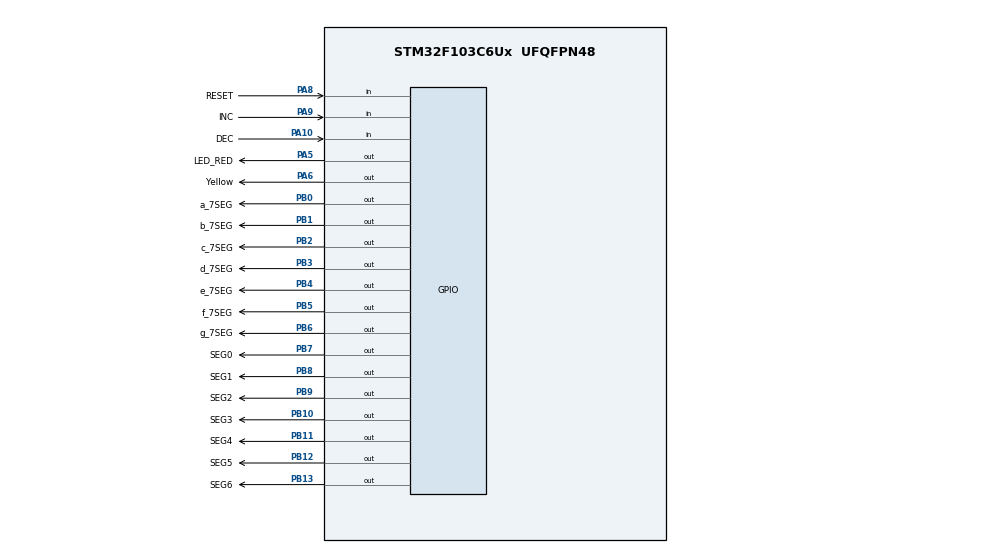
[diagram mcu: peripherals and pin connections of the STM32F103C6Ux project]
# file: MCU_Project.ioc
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Mcu.Family=STM32F1
Mcu.Name=STM32F103C6Ux
Mcu.Package=UFQFPN48
NVIC.PriorityGroup=NVIC_PRIORITYGROUP_4
NVIC.TIM2_IRQn=true\:0\:0\:false\:false\:true\:true\:true
PA10.GPIO_Label=DEC
PA10.GPIO_PuPd=GPIO_PULLUP
PA10.Signal=GPIO_Input
PA5.GPIO_Label=LED_RED
PA5.Signal=GPIO_Output
PA6.GPIO_Label=Yellow
PA6.Signal=GPIO_Output
PA8.GPIO_Label=RESET
PA8.GPIO_PuPd=GPIO_PULLUP
PA8.Signal=GPIO_Input
PA9.GPIO_Label=INC
PA9.GPIO_PuPd=GPIO_PULLUP
PA9.Signal=GPIO_Input
PB0.GPIO_Label=a_7SEG
PB0.Signal=GPIO_Output
PB1.GPIO_Label=b_7SEG
PB1.Signal=GPIO_Output
PB10.GPIO_Label=SEG3
PB10.Signal=GPIO_Output
PB11.GPIO_Label=SEG4
PB11.Signal=GPIO_Output
PB12.GPIO_Label=SEG5
PB12.Signal=GPIO_Output
PB13.GPIO_Label=SEG6
PB13.Signal=GPIO_Output
PB2.GPIO_Label=c_7SEG
PB2.Signal=GPIO_Output
PB3.GPIO_Label=d_7SEG
PB3.Signal=GPIO_Output
PB4.GPIO_Label=e_7SEG
PB4.Signal=GPIO_Output
PB5.GPIO_Label=f_7SEG
PB5.Signal=GPIO_Output
PB6.GPIO_Label=g_7SEG
PB6.Signal=GPIO_Output
PB7.GPIO_Label=SEG0
PB7.Signal=GPIO_Output
PB8.GPIO_Label=SEG1
PB8.Signal=GPIO_Output
PB9.GPIO_Label=SEG2
PB9.Signal=GPIO_Output
ProjectManager.HeapSize=0x200
ProjectManager.StackSize=0x400
ProjectManager.TargetToolchain=STM32CubeIDE
RCC.APB1Freq_Value=8000000
RCC.APB2Freq_Value=8000000
TIM2.Period=9
TIM2.Prescaler=7999
VP_SYS_VS_ND.Mode=No_Debug
VP_TIM2_VS_ClockSourceINT.Mode=Internal
board=custom

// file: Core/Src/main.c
/* USER CODE BEGIN Header */
/**
  ******************************************************************************
  * @file           : main.c
  * @brief          : Main program body
  ******************************************************************************
  * @attention
  *
  * <h2><center>&copy; Copyright (c) 2022 STMicroelectronics.
  * All rights reserved.</center></h2>
  *
  * This software component is licensed by ST under BSD 3-Clause license,
  * the "License"; You may not use this file except in compliance with the
  * License. You may obtain a copy of the License at:
  *                        opensource.org/licenses/BSD-3-Clause
  *
  ******************************************************************************
  */
/* USER CODE END Header */
#include "main.h"

/* USER CODE BEGIN Includes */

#include "ledStatus.h"
#include "global.h"
#include "software_timer.h"
#include "button.h"
#include "SEVEN_SEGMENT.h"

/* USER CODE END Includes */

TIM_HandleTypeDef htim2;

void SystemClock_Config(void);
static void MX_GPIO_Init(void);
static void MX_TIM2_Init(void);

/* USER CODE BEGIN 0 */
int number = 0;

void count(){
	if(timer4_flag == 1){
		setTimer4(100);
		number++;
	}
	 display7_seg2(number);
	if(number > 9)number = 0;
}
/* USER CODE END 0 */

int main(void)
{

  /* MCU Configuration--------------------------------------------------------*/

  /* Reset of all peripherals, Initializes the Flash interface and the Systick. */
  HAL_Init();

  /* Configure the system clock */
  SystemClock_Config();

  /* Initialize all configured peripherals */
  MX_GPIO_Init();
  MX_TIM2_Init();
  /* USER CODE BEGIN 2 */
  HAL_TIM_Base_Start_IT(&htim2);
  /* USER CODE END 2 */

  /* Infinite loop */
  /* USER CODE BEGIN WHILE */
  setTimer1(100);
  setTimer2(100);
  setTimer3(100);

  setTimer4(100);
  led_status(0);
  num = 5;
  flag = 1;
  while (1)
  {
	 //count();

	 led_blink();
	fsm_no_buttons_run();

	  //fsm_3s_buttons_run();

	  //fsm_simple_buttons_run();
    /* USER CODE END WHILE */

  }
}

void SystemClock_Config(void)
{
  RCC_OscInitTypeDef RCC_OscInitStruct = {0};
  RCC_ClkInitTypeDef RCC_ClkInitStruct = {0};

  /** Initializes the RCC Oscillators according to the specified parameters
  * in the RCC_OscInitTypeDef structure.
  */
  RCC_OscInitStruct.OscillatorType = RCC_OSCILLATORTYPE_HSI;
  RCC_OscInitStruct.HSIState = RCC_HSI_ON;
  RCC_OscInitStruct.HSICalibrationValue = RCC_HSICALIBRATION_DEFAULT;
  RCC_OscInitStruct.PLL.PLLState = RCC_PLL_NONE;
  if (HAL_RCC_OscConfig(&RCC_OscInitStruct) != HAL_OK)
  {
    Error_Handler();
  }
  /** Initializes the CPU, AHB and APB buses clocks
  */
  RCC_ClkInitStruct.ClockType = RCC_CLOCKTYPE_HCLK|RCC_CLOCKTYPE_SYSCLK
                              |RCC_CLOCKTYPE_PCLK1|RCC_CLOCKTYPE_PCLK2;
  RCC_ClkInitStruct.SYSCLKSource = RCC_SYSCLKSOURCE_HSI;
  RCC_ClkInitStruct.AHBCLKDivider = RCC_SYSCLK_DIV1;
  RCC_ClkInitStruct.APB1CLKDivider = RCC_HCLK_DIV1;
  RCC_ClkInitStruct.APB2CLKDivider = RCC_HCLK_DIV1;

  if (HAL_RCC_ClockConfig(&RCC_ClkInitStruct, FLASH_LATENCY_0) != HAL_OK)
  {
    Error_Handler();
  }
}

static void MX_TIM2_Init(void)
{

  TIM_ClockConfigTypeDef sClockSourceConfig = {0};
  TIM_MasterConfigTypeDef sMasterConfig = {0};

  htim2.Instance = TIM2;
  htim2.Init.Prescaler = 7999;
  htim2.Init.CounterMode = TIM_COUNTERMODE_UP;
  htim2.Init.Period = 9;
  htim2.Init.ClockDivision = TIM_CLOCKDIVISION_DIV1;
  htim2.Init.AutoReloadPreload = TIM_AUTORELOAD_PRELOAD_DISABLE;
  if (HAL_TIM_Base_Init(&htim2) != HAL_OK)
  {
    Error_Handler();
  }
  sClockSourceConfig.ClockSource = TIM_CLOCKSOURCE_INTERNAL;
  if (HAL_TIM_ConfigClockSource(&htim2, &sClockSourceConfig) != HAL_OK)
  {
    Error_Handler();
  }
  sMasterConfig.MasterOutputTrigger = TIM_TRGO_RESET;
  sMasterConfig.MasterSlaveMode = TIM_MASTERSLAVEMODE_DISABLE;
  if (HAL_TIMEx_MasterConfigSynchronization(&htim2, &sMasterConfig) != HAL_OK)
  {
    Error_Handler();
  }

}

static void MX_GPIO_Init(void)
{
  GPIO_InitTypeDef GPIO_InitStruct = {0};

  /* GPIO Ports Clock Enable */
  __HAL_RCC_GPIOA_CLK_ENABLE();
  __HAL_RCC_GPIOB_CLK_ENABLE();

  /*Configure GPIO pin Output Level */
  HAL_GPIO_WritePin(GPIOA, LED_RED_Pin|Yellow_Pin, GPIO_PIN_RESET);

  /*Configure GPIO pin Output Level */
  HAL_GPIO_WritePin(GPIOB, a_7SEG_Pin|b_7SEG_Pin|c_7SEG_Pin|SEG3_Pin
                          |SEG4_Pin|SEG5_Pin|SEG6_Pin|d_7SEG_Pin
                          |e_7SEG_Pin|f_7SEG_Pin|g_7SEG_Pin|SEG0_Pin
                          |SEG1_Pin|SEG2_Pin, GPIO_PIN_RESET);

  /*Configure GPIO pins : LED_RED_Pin Yellow_Pin */
  GPIO_InitStruct.Pin = LED_RED_Pin|Yellow_Pin;
  GPIO_InitStruct.Mode = GPIO_MODE_OUTPUT_PP;
  GPIO_InitStruct.Pull = GPIO_NOPULL;
  GPIO_InitStruct.Speed = GPIO_SPEED_FREQ_LOW;
  HAL_GPIO_Init(GPIOA, &GPIO_InitStruct);

  /*Configure GPIO pins : a_7SEG_Pin b_7SEG_Pin c_7SEG_Pin SEG3_Pin
                           SEG4_Pin SEG5_Pin SEG6_Pin d_7SEG_Pin
                           e_7SEG_Pin f_7SEG_Pin g_7SEG_Pin SEG0_Pin
                           SEG1_Pin SEG2_Pin */
  GPIO_InitStruct.Pin = a_7SEG_Pin|b_7SEG_Pin|c_7SEG_Pin|SEG3_Pin
                          |SEG4_Pin|SEG5_Pin|SEG6_Pin|d_7SEG_Pin
                          |e_7SEG_Pin|f_7SEG_Pin|g_7SEG_Pin|SEG0_Pin
                          |SEG1_Pin|SEG2_Pin;
  GPIO_InitStruct.Mode = GPIO_MODE_OUTPUT_PP;
  GPIO_InitStruct.Pull = GPIO_NOPULL;
  GPIO_InitStruct.Speed = GPIO_SPEED_FREQ_LOW;
  HAL_GPIO_Init(GPIOB, &GPIO_InitStruct);

  /*Configure GPIO pins : RESET_Pin INC_Pin DEC_Pin */
  GPIO_InitStruct.Pin = RESET_Pin|INC_Pin|DEC_Pin;
  GPIO_InitStruct.Mode = GPIO_MODE_INPUT;
  GPIO_InitStruct.Pull = GPIO_PULLUP;
  HAL_GPIO_Init(GPIOA, &GPIO_InitStruct);

}

/* USER CODE BEGIN 4 */
void HAL_TIM_PeriodElapsedCallback(TIM_HandleTypeDef *htim){
	timerRun();
	getKeyInput();
	//getKeyInput();
}
/* USER CODE END 4 */

void Error_Handler(void)
{
  __disable_irq();
  while (1)
  {
  }
}

/************************ (C) COPYRIGHT STMicroelectronics *****END OF FILE****/
